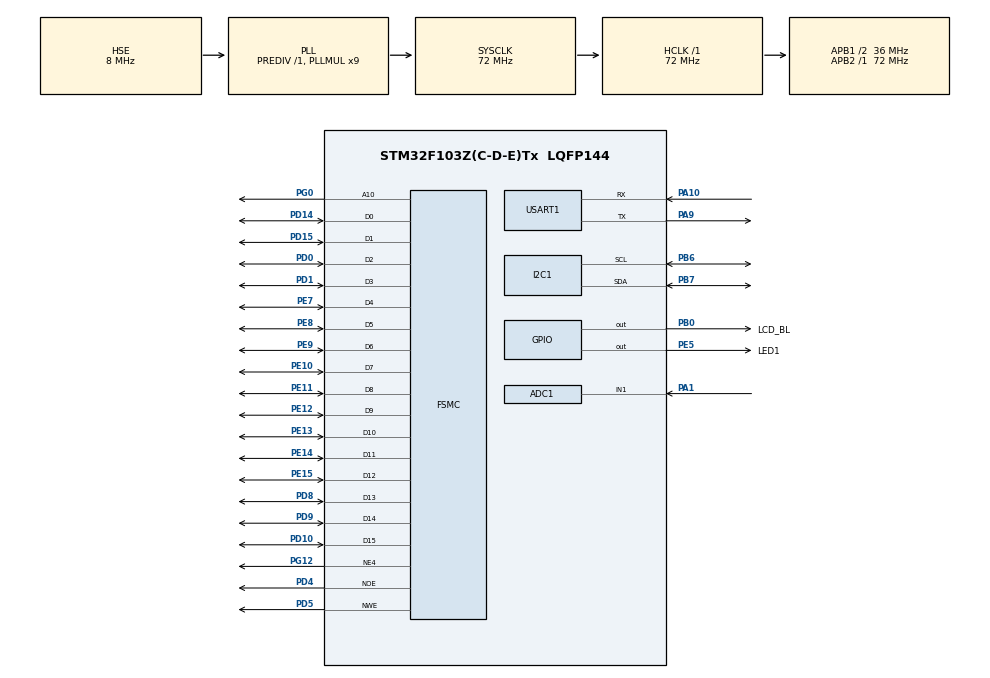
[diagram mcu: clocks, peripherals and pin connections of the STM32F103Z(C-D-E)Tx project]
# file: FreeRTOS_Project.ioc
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ADC1.Channel-3\#ChannelRegularConversion=ADC_CHANNEL_1
ADC1.NbrOfConversionFlag=1
ADC1.Rank-3\#ChannelRegularConversion=1
ADC1.SamplingTime-3\#ChannelRegularConversion=ADC_SAMPLETIME_55CYCLES_5
ADC1.master=1
Dma.ADC1.0.Direction=DMA_PERIPH_TO_MEMORY
Dma.ADC1.0.Instance=DMA1_Channel1
Dma.ADC1.0.MemDataAlignment=DMA_MDATAALIGN_HALFWORD
Dma.ADC1.0.MemInc=DMA_MINC_ENABLE
Dma.ADC1.0.Mode=DMA_NORMAL
Dma.ADC1.0.PeriphDataAlignment=DMA_PDATAALIGN_HALFWORD
Dma.ADC1.0.PeriphInc=DMA_PINC_DISABLE
Dma.ADC1.0.Priority=DMA_PRIORITY_LOW
Dma.Request0=ADC1
Dma.Request1=USART1_RX
Dma.Request2=USART1_TX
Dma.USART1_RX.1.Direction=DMA_PERIPH_TO_MEMORY
Dma.USART1_RX.1.Instance=DMA1_Channel5
Dma.USART1_RX.1.MemDataAlignment=DMA_MDATAALIGN_BYTE
Dma.USART1_RX.1.MemInc=DMA_MINC_ENABLE
Dma.USART1_RX.1.Mode=DMA_CIRCULAR
Dma.USART1_RX.1.PeriphDataAlignment=DMA_PDATAALIGN_BYTE
Dma.USART1_RX.1.PeriphInc=DMA_PINC_DISABLE
Dma.USART1_RX.1.Priority=DMA_PRIORITY_LOW
Dma.USART1_TX.2.Direction=DMA_MEMORY_TO_PERIPH
Dma.USART1_TX.2.Instance=DMA1_Channel4
Dma.USART1_TX.2.MemDataAlignment=DMA_MDATAALIGN_BYTE
Dma.USART1_TX.2.MemInc=DMA_MINC_ENABLE
Dma.USART1_TX.2.Mode=DMA_NORMAL
Dma.USART1_TX.2.PeriphDataAlignment=DMA_PDATAALIGN_BYTE
Dma.USART1_TX.2.PeriphInc=DMA_PINC_DISABLE
Dma.USART1_TX.2.Priority=DMA_PRIORITY_LOW
FREERTOS.Queues01=q_sensor2uart,32,uint16_t,0,Dynamic,NULL,NULL;q_sensor2display,32,uint16_t,0,Dynamic,NULL,NULL
FREERTOS.Tasks01=UART_Protocol_T,35,1024,StartUARTTask,Default,NULL,Dynamic,NULL,NULL;Sensor_Task,26,512,StartSensorTask,Default,NULL,Dynamic,NULL,NULL;Display_Task,17,256,StartDisplayTask,Default,NULL,Dynamic,NULL,NULL
FREERTOS.configTOTAL_HEAP_SIZE=16384
FSMC.AddressSetupTime1=0x01
FSMC.BusTurnAroundDuration1=0x00
FSMC.DataSetupTime1=0x05
Mcu.Family=STM32F1
Mcu.Name=STM32F103Z(C-D-E)Tx
Mcu.Package=LQFP144
NVIC.ADC1_2_IRQn=true\:5\:0\:false\:false\:true\:true\:true\:true
NVIC.DMA1_Channel1_IRQn=true\:5\:0\:false\:false\:true\:true\:false\:true
NVIC.DMA1_Channel4_IRQn=true\:5\:0\:false\:false\:true\:true\:false\:true
NVIC.DMA1_Channel5_IRQn=true\:5\:0\:false\:false\:true\:true\:false\:true
NVIC.PriorityGroup=NVIC_PRIORITYGROUP_4
NVIC.TIM6_IRQn=true\:15\:0\:false\:false\:true\:false\:false\:true
NVIC.TimeBase=TIM6_IRQn
NVIC.TimeBaseIP=TIM6
NVIC.USART1_IRQn=true\:5\:0\:false\:false\:true\:true\:true\:true
OSC_IN.Mode=HSE-External-Oscillator
OSC_IN.Signal=RCC_OSC_IN
OSC_OUT.Mode=HSE-External-Oscillator
OSC_OUT.Signal=RCC_OSC_OUT
PA1.Signal=ADCx_IN1
PA10.Mode=Asynchronous
PA10.Signal=USART1_RX
PA13.Mode=Serial_Wire
PA13.Signal=SYS_JTMS-SWDIO
PA14.Mode=Serial_Wire
PA14.Signal=SYS_JTCK-SWCLK
PA9.Mode=Asynchronous
PA9.Signal=USART1_TX
PB0.GPIO_Label=LCD_BL
PB0.GPIO_ModeDefaultOutputPP=GPIO_MODE_OUTPUT_PP
PB0.GPIO_PuPd=GPIO_NOPULL
PB0.PinState=GPIO_PIN_SET
PB0.Signal=GPIO_Output
PB6.Mode=I2C
PB6.Signal=I2C1_SCL
PB7.Mode=I2C
PB7.Signal=I2C1_SDA
PC14-OSC32_IN.Mode=LSE-External-Oscillator
PC14-OSC32_IN.Signal=RCC_OSC32_IN
PC15-OSC32_OUT.Mode=LSE-External-Oscillator
PC15-OSC32_OUT.Signal=RCC_OSC32_OUT
PD0.Signal=FSMC_D2_DA2
PD1.Signal=FSMC_D3_DA3
PD10.Signal=FSMC_D15_DA15
PD14.Signal=FSMC_D0_DA0
PD15.Signal=FSMC_D1_DA1
PD4.Signal=FSMC_NOE
PD5.Signal=FSMC_NWE
PD8.Signal=FSMC_D13_DA13
PD9.Signal=FSMC_D14_DA14
PE10.Signal=FSMC_D7_DA7
PE11.Signal=FSMC_D8_DA8
PE12.Signal=FSMC_D9_DA9
PE13.Signal=FSMC_D10_DA10
PE14.Signal=FSMC_D11_DA11
PE15.Signal=FSMC_D12_DA12
PE5.GPIO_Label=LED1
PE5.GPIO_ModeDefaultOutputPP=GPIO_MODE_OUTPUT_PP
PE5.GPIO_PuPd=GPIO_PULLUP
PE5.PinState=GPIO_PIN_RESET
PE5.Signal=GPIO_Output
PE7.Signal=FSMC_D4_DA4
PE8.Signal=FSMC_D5_DA5
PE9.Signal=FSMC_D6_DA6
PG0.Signal=FSMC_A10
PG12.Mode=NorPsramChipSelect4_1
PG12.Signal=FSMC_NE4
ProjectManager.HeapSize=0x200
ProjectManager.StackSize=0x400
ProjectManager.TargetToolchain=MDK-ARM V5.32
RCC.ADCPresc=RCC_ADCPCLK2_DIV6
RCC.AHBFreq_Value=72000000
RCC.APB1CLKDivider=RCC_HCLK_DIV2
RCC.APB1Freq_Value=36000000
RCC.APB1TimFreq_Value=72000000
RCC.APB2Freq_Value=72000000
RCC.APB2TimFreq_Value=72000000
RCC.HCLKFreq_Value=72000000
RCC.PLLMUL=RCC_PLL_MUL9
RCC.PLLSourceVirtual=RCC_PLLSOURCE_HSE
RCC.SYSCLKFreq_VALUE=72000000
RCC.SYSCLKSource=RCC_SYSCLKSOURCE_PLLCLK
RCC.USBFreq_Value=72000000
SH.ADCx_IN1.0=ADC1_IN1,IN1
SH.FSMC_A10.0=FSMC_A10,A10_1
SH.FSMC_D0_DA0.0=FSMC_D0,16b-d1
SH.FSMC_D10_DA10.0=FSMC_D10,16b-d1
SH.FSMC_D11_DA11.0=FSMC_D11,16b-d1
SH.FSMC_D12_DA12.0=FSMC_D12,16b-d1
SH.FSMC_D13_DA13.0=FSMC_D13,16b-d1
SH.FSMC_D14_DA14.0=FSMC_D14,16b-d1
SH.FSMC_D15_DA15.0=FSMC_D15,16b-d1
SH.FSMC_D1_DA1.0=FSMC_D1,16b-d1
SH.FSMC_D2_DA2.0=FSMC_D2,16b-d1
SH.FSMC_D3_DA3.0=FSMC_D3,16b-d1
SH.FSMC_D4_DA4.0=FSMC_D4,16b-d1
SH.FSMC_D5_DA5.0=FSMC_D5,16b-d1
SH.FSMC_D6_DA6.0=FSMC_D6,16b-d1
SH.FSMC_D7_DA7.0=FSMC_D7,16b-d1
SH.FSMC_D8_DA8.0=FSMC_D8,16b-d1
SH.FSMC_D9_DA9.0=FSMC_D9,16b-d1
SH.FSMC_NOE.0=FSMC_NOE,Lcd1
SH.FSMC_NWE.0=FSMC_NWE,Lcd1
USART1.VirtualMode=VM_ASYNC
VP_FREERTOS_VS_CMSIS_V2.Mode=CMSIS_V2
VP_SYS_VS_tim6.Mode=TIM6
board=custom

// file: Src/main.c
/* USER CODE BEGIN Header */
/**
  ******************************************************************************
  * @file           : main.c
  * @brief          : Main program body
  ******************************************************************************
  * @attention
  *
  * <h2><center>&copy; Copyright (c) 2026 STMicroelectronics.
  * All rights reserved.</center></h2>
  *
  * This software component is licensed by ST under Ultimate Liberty license
  * SLA0044, the "License"; You may not use this file except in compliance with
  * the License. You may obtain a copy of the License at:
  *                             www.st.com/SLA0044
  *
  ******************************************************************************
  */
/* USER CODE END Header */
#include "main.h"
#include "cmsis_os.h"
#include "adc.h"
#include "dma.h"
#include "i2c.h"
#include "usart.h"
#include "gpio.h"
#include "fsmc.h"

/* USER CODE BEGIN Includes */
#include <stdio.h>
#include "touch.h"
#include "24cxx.h"

/* USER CODE END Includes */

void SystemClock_Config(void);
void MX_FREERTOS_Init(void);

int main(void)
{

  /* MCU Configuration--------------------------------------------------------*/

  /* Reset of all peripherals, Initializes the Flash interface and the Systick. */
  HAL_Init();

  /* Configure the system clock */
  SystemClock_Config();

  /* Initialize all configured peripherals */
  MX_GPIO_Init();
  MX_DMA_Init();
  MX_ADC1_Init();
  MX_I2C1_Init();
  MX_USART1_UART_Init();
  MX_FSMC_Init();
  /* USER CODE BEGIN 2 */
  /* 预读触摸校准(调度器启动前做, 24C02 与 SHT30 共用 PB6/PB7 软 I2C, 避免任务竞争) */
  at24cxx_init();
  tp_get_adjust_data();

  /* USER CODE END 2 */

  /* Init scheduler */
  osKernelInitialize();  /* Call init function for freertos objects (in freertos.c) */
  MX_FREERTOS_Init();
  /* Start scheduler */
  osKernelStart();

  /* We should never get here as control is now taken by the scheduler */
  /* Infinite loop */
  while (1)
  {

  }
}

void SystemClock_Config(void)
{
  RCC_OscInitTypeDef RCC_OscInitStruct = {0};
  RCC_ClkInitTypeDef RCC_ClkInitStruct = {0};
  RCC_PeriphCLKInitTypeDef PeriphClkInit = {0};

  /** Initializes the RCC Oscillators according to the specified parameters
  * in the RCC_OscInitTypeDef structure.
  */
  RCC_OscInitStruct.OscillatorType = RCC_OSCILLATORTYPE_HSE;
  RCC_OscInitStruct.HSEState = RCC_HSE_ON;
  RCC_OscInitStruct.HSEPredivValue = RCC_HSE_PREDIV_DIV1;
  RCC_OscInitStruct.HSIState = RCC_HSI_ON;
  RCC_OscInitStruct.PLL.PLLState = RCC_PLL_ON;
  RCC_OscInitStruct.PLL.PLLSource = RCC_PLLSOURCE_HSE;
  RCC_OscInitStruct.PLL.PLLMUL = RCC_PLL_MUL9;
  if (HAL_RCC_OscConfig(&RCC_OscInitStruct) != HAL_OK)
  {
    Error_Handler();
  }
  /** Initializes the CPU, AHB and APB buses clocks
  */
  RCC_ClkInitStruct.ClockType = RCC_CLOCKTYPE_HCLK|RCC_CLOCKTYPE_SYSCLK
                              |RCC_CLOCKTYPE_PCLK1|RCC_CLOCKTYPE_PCLK2;
  RCC_ClkInitStruct.SYSCLKSource = RCC_SYSCLKSOURCE_PLLCLK;
  RCC_ClkInitStruct.AHBCLKDivider = RCC_SYSCLK_DIV1;
  RCC_ClkInitStruct.APB1CLKDivider = RCC_HCLK_DIV2;
  RCC_ClkInitStruct.APB2CLKDivider = RCC_HCLK_DIV1;

  if (HAL_RCC_ClockConfig(&RCC_ClkInitStruct, FLASH_LATENCY_2) != HAL_OK)
  {
    Error_Handler();
  }
  PeriphClkInit.PeriphClockSelection = RCC_PERIPHCLK_ADC;
  PeriphClkInit.AdcClockSelection = RCC_ADCPCLK2_DIV6;
  if (HAL_RCCEx_PeriphCLKConfig(&PeriphClkInit) != HAL_OK)
  {
    Error_Handler();
  }
}

/* USER CODE BEGIN 4 */
/* printf 重定向到串口1 (需要在 Keil 里勾选 Use MicroLIB) */
extern osMutexId_t uart_tx_mutex;   /* created in freertos.c */

int fputc(int ch, FILE *f)
{
    if (uart_tx_mutex) osMutexAcquire(uart_tx_mutex, osWaitForever);
    HAL_UART_Transmit(&huart1, (uint8_t *)&ch, 1, 100);
    if (uart_tx_mutex) osMutexRelease(uart_tx_mutex);
    return ch;
}

/* USER CODE END 4 */

void HAL_TIM_PeriodElapsedCallback(TIM_HandleTypeDef *htim)
{
  if (htim->Instance == TIM6) {
    HAL_IncTick();
  }
}

void Error_Handler(void)
{
  __disable_irq();
  while (1)
  {
  }
}

/************************ (C) COPYRIGHT STMicroelectronics *****END OF FILE****/

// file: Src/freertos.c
/* USER CODE BEGIN Header */
/**
  ******************************************************************************
  * File Name          : freertos.c
  * Description        : Code for freertos applications
  ******************************************************************************
  * @attention
  *
  * <h2><center>&copy; Copyright (c) 2026 STMicroelectronics.
  * All rights reserved.</center></h2>
  *
  * This software component is licensed by ST under Ultimate Liberty license
  * SLA0044, the "License"; You may not use this file except in compliance with
  * the License. You may obtain a copy of the License at:
  *                             www.st.com/SLA0044
  *
  ******************************************************************************
  */
/* USER CODE END Header */

#include "FreeRTOS.h"
#include "task.h"
#include "main.h"
#include "cmsis_os.h"

/* USER CODE BEGIN Includes */
#include <stdio.h>
#include <string.h>
#include "lvgl.h"
#include "lv_port_disp.h"
#include "adc.h"
#include "usart.h"
#include "ringbuf.h"
#include "protocol.h"
#include "sht30.h"
#include "flash_param.h"
#include "lcd.h"
#include "touch.h"
#include "lv_port_indev.h"
#include "rtc.h"

/* USER CODE END Includes */

/* USER CODE BEGIN Variables */
/* 传感器数据包: 队列里传的就是这个结构体 */
typedef struct
{
    uint16_t adc_raw;   /* ADC raw value 0~4095 */
    uint16_t adc_mv;    /* 换算后的电压, 单位 mV */
    int16_t  temp_x10;  /* 温度 ×10, 256 = 25.6°C; 0x7FFF = 无效 */
    int16_t  humi_x10;  /* 湿度 ×10, 600 = 60.0%; 0x7FFF = 无效 */
} SensorData;

volatile uint16_t g_sample_interval_ms = 200;   /* 采样周期, 可被串口命令修改 */
volatile uint8_t  g_device_id = 0x01;           /* device ID (TODO: persist in flash) */
volatile uint32_t g_proto_crc_err = 0;   /* CRC error frame counter (debug) */
osMutexId_t uart_tx_mutex = NULL;   /* serial printf mutex (shared with main.c fputc) */

/* USER CODE END Variables */
/* Definitions for UART_Protocol_T */
osThreadId_t UART_Protocol_THandle;
const osThreadAttr_t UART_Protocol_T_attributes = {
  .name = "UART_Protocol_T",
  .stack_size = 1024 * 4,
  .priority = (osPriority_t) osPriorityAboveNormal3,
};
/* Definitions for Sensor_Task */
osThreadId_t Sensor_TaskHandle;
const osThreadAttr_t Sensor_Task_attributes = {
  .name = "Sensor_Task",
  .stack_size = 512 * 4,
  .priority = (osPriority_t) osPriorityNormal2,
};
/* Definitions for Display_Task */
osThreadId_t Display_TaskHandle;
const osThreadAttr_t Display_Task_attributes = {
  .name = "Display_Task",
  .stack_size = 2048 * 4,
  .priority = (osPriority_t) osPriorityBelowNormal1,
};
/* Definitions for q_sensor2uart */
osMessageQueueId_t q_sensor2uartHandle;
const osMessageQueueAttr_t q_sensor2uart_attributes = {
  .name = "q_sensor2uart"
};
/* Definitions for q_sensor2display */
osMessageQueueId_t q_sensor2displayHandle;
const osMessageQueueAttr_t q_sensor2display_attributes = {
  .name = "q_sensor2display"
};

/* USER CODE BEGIN FunctionPrototypes */
static void proto_handle_cmd(ProtoParser *p, uint8_t *tx_buf);

/* USER CODE END FunctionPrototypes */

void StartUARTTask(void *argument);
void StartSensorTask(void *argument);
void StartDisplayTask(void *argument);

void MX_FREERTOS_Init(void); /* (MISRA C 2004 rule 8.1) */
/* FreeRTOS stack overflow hook: print + loop forever */
/* FreeRTOS malloc failed hook: print + loop forever */
void vApplicationMallocFailedHook(void)
{
    printf("MALLOC FAILED!\r\n");
    while (1);
}
void vApplicationStackOverflowHook(TaskHandle_t xTask, char *pcTaskName)
{
    printf("STACK OVERFLOW: %s\r\n", pcTaskName);
    while (1);
}

void MX_FREERTOS_Init(void) {

  /* USER CODE BEGIN RTOS_MUTEX */
  uart_tx_mutex = osMutexNew(NULL);
  /* USER CODE END RTOS_MUTEX */

  /* Create the queue(s) */
  /* creation of q_sensor2uart */
  q_sensor2uartHandle = osMessageQueueNew (32, sizeof(SensorData), &q_sensor2uart_attributes);

  /* creation of q_sensor2display */
  q_sensor2displayHandle = osMessageQueueNew (32, sizeof(SensorData), &q_sensor2display_attributes);

  /* Create the thread(s) */
  /* creation of UART_Protocol_T */
  UART_Protocol_THandle = osThreadNew(StartUARTTask, NULL, &UART_Protocol_T_attributes);

  /* creation of Sensor_Task */
  Sensor_TaskHandle = osThreadNew(StartSensorTask, NULL, &Sensor_Task_attributes);

  /* creation of Display_Task */
  Display_TaskHandle = osThreadNew(StartDisplayTask, NULL, &Display_Task_attributes);

}

void StartUARTTask(void *argument)
{
  /* USER CODE BEGIN StartUARTTask */
  SensorData rx_data;
  uint8_t byte;
  ProtoParser parser;
  uint8_t tx_buf[PROTO_MAX_DATA_LEN + 6];

  proto_init(&parser);
  uart1_rx_start();   /* 启动 DMA 循环接收 + IDLE 中断 */

/* load params from flash; use defaults if absent */
  {
      uint16_t id, interval;
      if (flash_param_load(&id, &interval) == 0)
      {
          g_device_id = (uint8_t)id;
          g_sample_interval_ms = interval;
          printf("params loaded: ID=%u interval=%ums\r\n", (unsigned)id, (unsigned)interval);
      }
      else
      {
          printf("params default: ID=1 interval=200ms\r\n");
      }
  }
  printf("Proto v1 up: use HEX mode. Frames: AA ID CMD LEN DATA CRC16\r\n");

  /* Infinite loop */
  for(;;)
  {
    /* 1. 串口字节 -> 协议状态机 */
    while (rb_read(&uart1_rx_ring, &byte))
    {
        ProtoStatus st = proto_feed(&parser, byte);

        if (st == PROTO_FRAME_OK)
        {
            proto_handle_cmd(&parser, tx_buf);
        }
        else if (st == PROTO_CRC_ERR)
        {
            g_proto_crc_err++;
            printf("CRC err! count=%lu\r\n", (unsigned long)g_proto_crc_err);
        }
        else if (st == PROTO_LEN_ERR)
        {
            printf("LEN err!\r\n");
        }
    }

/* sensor data -> CMD 0x01 report (DATA: adc_mv 2B + adc_raw 2B) */
    if (osMessageQueueGet(q_sensor2uartHandle, &rx_data, NULL, 50) == osOK)
    {
        uint8_t payload[8];
        uint16_t n;

        payload[0] = (uint8_t)(rx_data.adc_mv >> 8);
        payload[1] = (uint8_t)(rx_data.adc_mv & 0xFF);
        payload[2] = (uint8_t)(rx_data.adc_raw >> 8);
        payload[3] = (uint8_t)(rx_data.adc_raw & 0xFF);
        payload[4] = (uint8_t)(rx_data.temp_x10 >> 8);
        payload[5] = (uint8_t)(rx_data.temp_x10 & 0xFF);
        payload[6] = (uint8_t)(rx_data.humi_x10 >> 8);
        payload[7] = (uint8_t)(rx_data.humi_x10 & 0xFF);

        n = proto_build(g_device_id, PROTO_CMD_REPORT, payload, 8, tx_buf);
        HAL_UART_Transmit(&huart1, tx_buf, n, 100);
    }
  }
  /* USER CODE END StartUARTTask */
}

void StartSensorTask(void *argument)
{
  /* USER CODE BEGIN StartSensorTask */
  SensorData tx_data;

  /* Infinite loop */
  for(;;)
  {
/* one-shot: start -> wait -> read -> stop */
    HAL_ADC_Start(&hadc1);
    if (HAL_ADC_PollForConversion(&hadc1, 10) == HAL_OK)
    {
        tx_data.adc_raw = HAL_ADC_GetValue(&hadc1);
    }
    else
    {
        tx_data.adc_raw = 0;
    }
    HAL_ADC_Stop(&hadc1);

/* convert: 12-bit ADC, 3.3V reference */
    tx_data.adc_mv = (uint16_t)((uint32_t)tx_data.adc_raw * 3300UL / 4095UL);

/* SHT30 read fail -> 0x7FFF invalid */
    if (sht30_read(&tx_data.temp_x10, &tx_data.humi_x10) != 0)
    {
        tx_data.temp_x10 = 0x7FFF;
        tx_data.humi_x10 = 0x7FFF;
    }

    /* 发给 UART 任务; 队列满则阻塞等待(背压, 自动限流) */
    osMessageQueuePut(q_sensor2uartHandle, &tx_data, 0, 100);
    /* 同时发给显示任务 */
    osMessageQueuePut(q_sensor2displayHandle, &tx_data, 0, 100);

    osDelay(g_sample_interval_ms);   /* 采样周期, 可被 CMD 0x02 修改 */
  }
  /* USER CODE END StartSensorTask */
}

/* ===== App page framework =====
 * Desktop + app pages are persistent lv_obj_t screens, switched by lv_scr_load().
 * Handles are file-static so the UI refresh loop can update them anytime. */
static lv_obj_t *scr_desktop = NULL;
static lv_obj_t *scr_clock = NULL;
static lv_obj_t *scr_weather = NULL;
static lv_obj_t *scr_adc = NULL;
static lv_obj_t *scr_calc = NULL;
static lv_obj_t *lbl_desk_time = NULL;  /* desktop status time */
static lv_obj_t *lbl_clock_big = NULL;  /* clock app big text */
static lv_obj_t *lbl_clock_date = NULL; /* clock app date line */
static lv_obj_t *lbl_w_temp = NULL;     /* weather app */
static lv_obj_t *lbl_w_humi = NULL;
static lv_obj_t *chart_weather = NULL;  /* weather history chart */
static lv_chart_series_t *s_w_temp = NULL;
static lv_chart_series_t *s_w_humi = NULL;
static int16_t last_temp_x10 = 0x7FFF;  /* latest values, for 1Hz chart feed */
static int16_t last_humi_x10 = 0x7FFF;
static uint16_t last_adc_mv = 0xFFFF;   /* last shown value, change-check */
/* adaptive Y range: track min/max of valid samples (x10 fixed point),
 * so small variations stay visible instead of being flattened */
static int16_t chart_tmin = 0x7FFF, chart_tmax = 0x8000;
static int16_t chart_hmin = 0x7FFF, chart_hmax = 0x8000;

static void chart_update_range(void)
{
    if (chart_tmin > chart_tmax) return;   /* no valid samples yet, keep initial range */
    lv_chart_set_range(chart_weather, LV_CHART_AXIS_PRIMARY_Y,
                       chart_tmin - 15, chart_tmax + 15);   /* +/- 1.5 C margin */
    lv_chart_set_range(chart_weather, LV_CHART_AXIS_SECONDARY_Y,
                       chart_hmin - 50, chart_hmax + 50);   /* +/- 5 % margin */
}
static lv_obj_t *lbl_adc_big = NULL;    /* adc app */
static lv_obj_t *lbl_adc_raw = NULL;

/* desktop icon -> open app page (fade in: renders one screen per frame) */
static void app_open_clock_cb(lv_event_t *e)
{ (void)e; lv_scr_load_anim(scr_clock, LV_SCR_LOAD_ANIM_FADE_ON, 200, 0, false); }
static void app_open_weather_cb(lv_event_t *e)
{ (void)e; lv_scr_load_anim(scr_weather, LV_SCR_LOAD_ANIM_FADE_ON, 200, 0, false); }
static void app_open_adc_cb(lv_event_t *e)
{ (void)e; lv_scr_load_anim(scr_adc, LV_SCR_LOAD_ANIM_FADE_ON, 200, 0, false); }
static void app_open_calc_cb(lv_event_t *e)
{ (void)e; lv_scr_load_anim(scr_calc, LV_SCR_LOAD_ANIM_FADE_ON, 200, 0, false); }

/* app page back button -> desktop */
static void app_back_cb(lv_event_t *e)
{ (void)e; lv_scr_load_anim(scr_desktop, LV_SCR_LOAD_ANIM_FADE_ON, 200, 0, false); }

/* shared button styles (one instance, all buttons reference them) */
static lv_style_t g_style_btn;
static lv_style_t g_style_btn_pressed;

static void ui_styles_init(void)
{
    lv_style_init(&g_style_btn);
    lv_style_set_bg_color(&g_style_btn, lv_color_hex(0x1E2A38));
    lv_style_set_radius(&g_style_btn, 10);
    lv_style_set_shadow_width(&g_style_btn, 0);
    lv_style_set_border_width(&g_style_btn, 0);

    lv_style_init(&g_style_btn_pressed);
    lv_style_set_bg_color(&g_style_btn_pressed, lv_color_hex(0x2A3B4D));
}

static void ui_btn_style(lv_obj_t *btn)
{
    lv_obj_add_style(btn, &g_style_btn, 0);
    lv_obj_add_style(btn, &g_style_btn_pressed, LV_STATE_PRESSED);
}

/* ===== Calculator app =====
 * Expression string + recursive-descent eval (mul/div before add/sub, left assoc) */
static lv_obj_t *lbl_calc = NULL;
static char calc_expr[32];
static uint8_t calc_len = 0;
static uint8_t calc_is_result = 0;

static const char *calc_map[] = {
    "C", LV_SYMBOL_BACKSPACE, "%", "/", "\n",
    "7", "8", "9", "*", "\n",
    "4", "5", "6", "-", "\n",
    "1", "2", "3", "+", "\n",
    "0", ".", "=", " ",
    ""
};

/* parse one term: number [(*|/) number]* */
static double calc_term(const char **p, int *err)
{
    double v = strtod(*p, (char **)p);
    while (**p == '*' || **p == '/')
    {
        char op = *(*p)++;
        double r = strtod(*p, (char **)p);
        if (op == '/' && r == 0.0) { *err = 1; return 0.0; }
        v = (op == '*') ? v * r : v / r;
    }
    return v;
}

/* parse full expression: term [(+|-) term]* */
static double calc_eval(const char *s, int *err)
{
    const char *p = s;
    double v = calc_term(&p, err);
    while (*p == '+' || *p == '-')
    {
        char op = *p++;
        double r = calc_term(&p, err);
        v = (op == '+') ? v + r : v - r;
    }
    return v;
}

static void calc_refresh(void)
{
    lv_label_set_text(lbl_calc, calc_len ? calc_expr : "0");
}

/* format double to string: max 6 decimal digits, strip trailing zeros.
 * (LVGL's lv_snprintf has no float support - LV_SPRINTF_USE_FLOAT=0) */
static void calc_format_result(double v, char *out)
{
    size_t i = 0;
    double a, fp;
    long long ip;

    if (v != v || v > 9.0e18 || v < -9.0e18)   /* NaN / overflow */
    {
        strcpy(out, "Error");
        return;
    }
    a = (v < 0) ? -v : v;
    ip = (long long)a;
    fp = a - (double)ip;

    if (v < 0) out[i++] = '-';
    if (ip == 0) out[i++] = '0';
    else
    {
        char rev[24];
        int j = 0;
        while (ip > 0 && j < 23) { rev[j++] = (char)('0' + ip % 10); ip /= 10; }
        while (j > 0) out[i++] = rev[--j];
    }
    if (fp > 1e-9)
    {
        int digits = 0;
        out[i++] = '.';
        while (fp > 1e-9 && digits < 6)
        {
            fp *= 10.0;
            int d = (int)fp;
            out[i++] = (char)('0' + d);
            fp -= (double)d;
            digits++;
        }
        while (i > 0 && out[i - 1] == '0') i--;   /* strip trailing zeros */
        if (out[i - 1] == '.') i--;               /* "1." -> "1" */
    }
    out[i] = '\0';
}

static void calc_key(char k)
{
    if (k == ' ') return;                       /* unused pad key */

    switch (k)
    {
        case 'C':
            calc_len = 0; calc_expr[0] = 0; calc_is_result = 0;
            break;

        case 'B':                               /* backspace */
            if (calc_is_result) { calc_len = 0; calc_expr[0] = 0; calc_is_result = 0; }
            else if (calc_len) { calc_expr[--calc_len] = 0; }
            break;

        case '=':
        {
            int err = 0;
            double v = calc_eval(calc_expr, &err);
            if (err || v != v)                  /* v != v catches NaN */
            {
                lv_label_set_text(lbl_calc, "Error");
                calc_len = 0; calc_expr[0] = 0; calc_is_result = 0;
            }
            else
            {
                calc_format_result(v, calc_expr);
                calc_len = (uint8_t)strlen(calc_expr);
                calc_is_result = 1;
                lv_label_set_text(lbl_calc, calc_expr);
            }
            return;
        }

        default:                                /* digits, '.', ops */
            if (calc_is_result)
            {
                if (k >= '0' && k <= '9') { calc_len = 0; calc_expr[0] = 0; }
                calc_is_result = 0;
            }
            if (calc_len >= sizeof(calc_expr) - 4) break;   /* overflow guard */
            if (k == '%') { strcpy(&calc_expr[calc_len], "/100"); calc_len += 4; }
            else { calc_expr[calc_len++] = k; calc_expr[calc_len] = 0; }
            break;
    }
    calc_refresh();
}

static void calc_btn_cb(lv_event_t *e)
{
    lv_obj_t *bm = lv_event_get_target(e);
    uint16_t sel = lv_btnmatrix_get_selected_btn(bm);
    const char *txt;

    if (sel == LV_BTNMATRIX_BTN_NONE) return;
    txt = lv_btnmatrix_get_btn_text(bm, sel);
    if (strcmp(txt, LV_SYMBOL_BACKSPACE) == 0) calc_key('B');
    else calc_key(txt[0]);
}

/* desktop app icon: colored rounded tile (phone-style) + symbol + name below.
 * The tile is a gradient rounded square with a soft shadow; the app symbol is
 * centered in white; the name sits under the tile like a phone launcher. */
static lv_obj_t *ui_icon_create(lv_obj_t *parent, lv_coord_t x, lv_coord_t y,
                                const char *symbol, const char *name,
                                uint32_t tile_color, lv_event_cb_t cb)
{
    lv_obj_t *tile = lv_btn_create(parent);
    lv_obj_set_size(tile, 52, 52);
    lv_obj_set_pos(tile, x, y);
    lv_obj_set_style_bg_color(tile, lv_color_hex(tile_color), 0);
    lv_obj_set_style_bg_grad_color(tile, lv_color_hex(0x101820), 0);
    lv_obj_set_style_bg_grad_dir(tile, LV_GRAD_DIR_VER, 0);
    lv_obj_set_style_bg_opa(tile, LV_OPA_COVER, 0);
    lv_obj_set_style_bg_color(tile, lv_color_hex(0x2A3B4D), LV_STATE_PRESSED);
    lv_obj_set_style_bg_grad_color(tile, lv_color_hex(0x2A3B4D), LV_STATE_PRESSED);
    lv_obj_set_style_radius(tile, 14, 0);
    lv_obj_set_style_border_width(tile, 0, 0);
    lv_obj_set_style_shadow_width(tile, 8, 0);
    lv_obj_set_style_shadow_color(tile, lv_color_hex(0x000000), 0);
    lv_obj_set_style_shadow_opa(tile, LV_OPA_60, 0);
    lv_obj_set_style_shadow_ofs_y(tile, 3, 0);
    lv_obj_add_event_cb(tile, cb, LV_EVENT_CLICKED, NULL);

    lv_obj_t *sym = lv_label_create(tile);
    lv_label_set_text(sym, symbol);
    lv_obj_set_style_text_color(sym, lv_color_hex(0xFFFFFF), 0);
    lv_obj_set_style_text_font(sym, &lv_font_montserrat_20, 0);
    lv_obj_center(sym);

    lv_obj_t *nm = lv_label_create(parent);
    lv_label_set_text(nm, name);
    lv_obj_set_style_text_color(nm, lv_color_hex(0xB0B8C4), 0);
    lv_obj_set_style_text_font(nm, &lv_font_montserrat_14, 0);
    lv_obj_align_to(nm, tile, LV_ALIGN_BOTTOM_MID, 0, 5);
    return tile;
}

/* app page scaffold: title + back button, caller adds content */
static lv_obj_t *ui_app_page_create(const char *title, uint32_t title_color)
{
    lv_obj_t *scr = lv_obj_create(NULL);
    lv_obj_set_style_bg_color(scr, lv_color_hex(0x101820), 0);
    lv_obj_clear_flag(scr, LV_OBJ_FLAG_SCROLLABLE);

    lv_obj_t *lbl = lv_label_create(scr);
    lv_label_set_text(lbl, title);
    lv_obj_set_style_text_color(lbl, lv_color_hex(title_color), 0);
    lv_obj_set_style_text_font(lbl, &lv_font_montserrat_20, 0);
    lv_obj_align(lbl, LV_ALIGN_TOP_MID, 0, 20);

    lv_obj_t *btn = lv_btn_create(scr);
    lv_obj_set_size(btn, 52, 34);
    lv_obj_align(btn, LV_ALIGN_TOP_LEFT, 8, 10);
    ui_btn_style(btn);
    lv_obj_add_event_cb(btn, app_back_cb, LV_EVENT_CLICKED, NULL);
    lv_obj_t *b = lv_label_create(btn);
    lv_label_set_text(b, LV_SYMBOL_LEFT);
    lv_obj_set_style_text_color(b, lv_color_hex(0xFFFFFF), 0);
    lv_obj_center(b);
    return scr;
}

void StartDisplayTask(void *argument)
{
  /* USER CODE BEGIN StartDisplayTask */
  SensorData disp;

  lcd_init();    /* init LCD (one-time at boot) */
  printf("[LVGL] lcd_init done\r\n");
  lv_init();    /* init LVGL */
  printf("[LVGL] lv_init done\r\n");
  lv_port_disp_init();    /* register display driver */
  printf("[LVGL] disp_init done\r\n");

  /* RTC: real clock (LSE 32.768kHz, battery-backed) */
  if (rtc_init() == 0)
  {
      rtc_set_from_build_time_if_needed();
      printf("[RTC] ready\r\n");
  }
  else
  {
      printf("[RTC] LSE FAIL - uptime mode\r\n");
  }

  /* touch: XPT2046 resistive init + register LVGL input device */
  uint8_t tp_ok = tp_init();
  printf("[TP] tp_init %s (calib %s)\r\n", tp_ok ? "UNCALIB" : "OK",
         g_tp_calib_ok ? "OK" : "NONE");
  lv_port_indev_init();

  /* ===== Desktop: title + status time + 3 app icons ===== */
  ui_styles_init();               /* shared button styles (before any widget) */
  scr_desktop = lv_scr_act();
  lv_obj_set_style_bg_color(scr_desktop, lv_color_hex(0x101820), 0);

  lv_obj_t *lbl_t = lv_label_create(scr_desktop);
  lv_label_set_text(lbl_t, "Sensor OS");
  lv_obj_set_style_text_color(lbl_t, lv_color_hex(0xFFFFFF), 0);
  lv_obj_set_style_text_font(lbl_t, &lv_font_montserrat_20, 0);
  lv_obj_align(lbl_t, LV_ALIGN_TOP_MID, 0, 14);

  /* status time, top-right like a phone status bar */
  lbl_desk_time = lv_label_create(scr_desktop);
  lv_label_set_text(lbl_desk_time, "00:00");
  lv_obj_set_style_text_color(lbl_desk_time, lv_color_hex(0x8AB4F8), 0);
  lv_obj_set_style_text_font(lbl_desk_time, &lv_font_montserrat_14, 0);
  lv_obj_align(lbl_desk_time, LV_ALIGN_TOP_RIGHT, -14, 18);

  /* app icons: 2x2 centered grid (52px tiles + name labels below) */
  ui_icon_create(scr_desktop, 58, 118, LV_SYMBOL_BELL,    "Clock",   0x2A5DB0, app_open_clock_cb);
  ui_icon_create(scr_desktop, 130, 118, LV_SYMBOL_REFRESH, "Weather", 0x1E8CA0, app_open_weather_cb);
  ui_icon_create(scr_desktop, 58, 214, LV_SYMBOL_CHARGE,  "ADC",     0x2E8C4E, app_open_adc_cb);
  ui_icon_create(scr_desktop, 130, 214, "+",              "Calc",    0xC07A2E, app_open_calc_cb);

  lv_obj_t *ver = lv_label_create(scr_desktop);
  lv_label_set_text(ver, "FreeRTOS + LVGL v1.0");
  lv_obj_set_style_text_color(ver, lv_color_hex(0x556070), 0);
  lv_obj_set_style_text_font(ver, &lv_font_montserrat_14, 0);
  lv_obj_align(ver, LV_ALIGN_BOTTOM_MID, 0, -8);

  /* ===== Clock app page ===== */
  scr_clock = ui_app_page_create("Clock", 0x4FC3F7);
  lbl_clock_big = lv_label_create(scr_clock);
  lv_label_set_text(lbl_clock_big, "00:00:00");
  lv_obj_set_style_text_color(lbl_clock_big, lv_color_hex(0xFFFFFF), 0);
  lv_obj_set_style_text_font(lbl_clock_big, &lv_font_montserrat_20, 0);
  lv_obj_align(lbl_clock_big, LV_ALIGN_CENTER, 0, -20);
  lbl_clock_date = lv_label_create(scr_clock);
  lv_label_set_text(lbl_clock_date, "----");
  lv_obj_set_style_text_color(lbl_clock_date, lv_color_hex(0x8AB4F8), 0);
  lv_obj_set_style_text_font(lbl_clock_date, &lv_font_montserrat_16, 0);
  lv_obj_align(lbl_clock_date, LV_ALIGN_CENTER, 0, 20);

  /* ===== Weather app page ===== */
  scr_weather = ui_app_page_create("Weather", 0x4FC3F7);
  lbl_w_temp = lv_label_create(scr_weather);
  lv_label_set_text(lbl_w_temp, "Temp: --");
  lv_obj_set_style_text_color(lbl_w_temp, lv_color_hex(0xFF8C42), 0);
  lv_obj_set_style_text_font(lbl_w_temp, &lv_font_montserrat_20, 0);
  lv_obj_align(lbl_w_temp, LV_ALIGN_TOP_MID, 0, 58);
  lbl_w_humi = lv_label_create(scr_weather);
  lv_label_set_text(lbl_w_humi, "Humi: --");
  lv_obj_set_style_text_color(lbl_w_humi, lv_color_hex(0x81C784), 0);
  lv_obj_set_style_text_font(lbl_w_humi, &lv_font_montserrat_20, 0);
  lv_obj_align(lbl_w_humi, LV_ALIGN_TOP_MID, 0, 92);

  /* history chart: temp on primary Y, humi on secondary Y, 60 points fed
   * once per second = 60s sliding window (stable lv_chart, straight lines) */
  chart_weather = lv_chart_create(scr_weather);
  lv_obj_set_size(chart_weather, 224, 168);
  lv_obj_align(chart_weather, LV_ALIGN_BOTTOM_MID, 0, -4);
  lv_chart_set_point_count(chart_weather, 60);
  /* initial ranges in x10 fixed point (250 = 25.0C); chart_update_range()
   * takes over as soon as the first valid sample arrives */
  lv_chart_set_range(chart_weather, LV_CHART_AXIS_PRIMARY_Y, 100, 400);
  lv_chart_set_range(chart_weather, LV_CHART_AXIS_SECONDARY_Y, 0, 1000);
  lv_chart_set_div_line_count(chart_weather, 4, 8);
  lv_obj_set_style_bg_color(chart_weather, lv_color_hex(0x141B24), 0);
  lv_obj_set_style_border_width(chart_weather, 1, 0);
  lv_obj_set_style_border_color(chart_weather, lv_color_hex(0x2A3B4D), 0);
  s_w_temp = lv_chart_add_series(chart_weather, lv_color_hex(0xFF8C42), LV_CHART_AXIS_PRIMARY_Y);
  s_w_humi = lv_chart_add_series(chart_weather, lv_color_hex(0x81C784), LV_CHART_AXIS_SECONDARY_Y);
  lv_obj_set_style_size(chart_weather, 0, LV_PART_INDICATOR);   /* no dots, just lines */

  /* ===== ADC app page ===== */
  scr_adc = ui_app_page_create("ADC", 0x81C784);
  lbl_adc_big = lv_label_create(scr_adc);
  lv_label_set_text(lbl_adc_big, "-- mV");
  lv_obj_set_style_text_color(lbl_adc_big, lv_color_hex(0x81C784), 0);
  lv_obj_set_style_text_font(lbl_adc_big, &lv_font_montserrat_20, 0);
  lv_obj_align(lbl_adc_big, LV_ALIGN_CENTER, 0, -30);
  lbl_adc_raw = lv_label_create(scr_adc);
  lv_label_set_text(lbl_adc_raw, "raw: ----");
  lv_obj_set_style_text_color(lbl_adc_raw, lv_color_hex(0x556070), 0);
  lv_obj_set_style_text_font(lbl_adc_raw, &lv_font_montserrat_14, 0);
  lv_obj_align(lbl_adc_raw, LV_ALIGN_CENTER, 0, 20);

  /* ===== Calculator app page ===== */
  scr_calc = ui_app_page_create("Calc", 0xE5A64E);
  lbl_calc = lv_label_create(scr_calc);
  lv_label_set_text(lbl_calc, "0");
  lv_obj_set_style_text_color(lbl_calc, lv_color_hex(0xFFFFFF), 0);
  lv_obj_set_style_text_font(lbl_calc, &lv_font_montserrat_20, 0);
  lv_obj_align(lbl_calc, LV_ALIGN_TOP_RIGHT, -16, 46);

  lv_obj_t *bm = lv_btnmatrix_create(scr_calc);
  lv_btnmatrix_set_map(bm, calc_map);
  lv_obj_set_size(bm, 216, 232);
  lv_obj_align(bm, LV_ALIGN_BOTTOM_MID, 0, -8);
  lv_obj_set_style_bg_color(bm, lv_color_hex(0x141B24), 0);
  lv_obj_set_style_border_width(bm, 0, 0);
  lv_obj_set_style_pad_all(bm, 2, 0);
  lv_obj_set_style_radius(bm, 0, 0);
  lv_obj_set_style_pad_row(bm, 4, 0);
  lv_obj_set_style_pad_column(bm, 4, 0);
  lv_obj_set_style_bg_color(bm, lv_color_hex(0x1E2A38), LV_PART_ITEMS);
  lv_obj_set_style_bg_color(bm, lv_color_hex(0x2A3B4D), LV_PART_ITEMS | LV_STATE_PRESSED);
  lv_obj_set_style_radius(bm, 8, LV_PART_ITEMS);
  lv_obj_set_style_text_color(bm, lv_color_hex(0xFFFFFF), LV_PART_ITEMS);
  lv_obj_set_style_text_font(bm, &lv_font_montserrat_20, LV_PART_ITEMS);
  lv_obj_add_event_cb(bm, calc_btn_cb, LV_EVENT_VALUE_CHANGED, NULL);

  printf("[LVGL] UI created\r\n");
  {
      lv_mem_monitor_t lv_mon;
      lv_mem_monitor(&lv_mon);
      printf("[LVGL] mem total=%u free=%u frag=%u%%\r\n", (unsigned)lv_mon.total_size, (unsigned)lv_mon.free_size, (unsigned)lv_mon.frag_pct);
  }

/* idle: update UI + call LVGL timer handler */
  uint32_t last_sec = 0;
  for(;;)
  {
    if (osMessageQueueGet(q_sensor2displayHandle, &disp, NULL, 5) == osOK)
    {
        /* only touch labels when the value actually changed (avoid useless redraw) */
        if (disp.temp_x10 != last_temp_x10)
        {
            if (disp.temp_x10 != 0x7FFF)
                lv_label_set_text_fmt(lbl_w_temp, "Temp: %d.%d C", disp.temp_x10 / 10,
                                      (disp.temp_x10 % 10 < 0) ? -(disp.temp_x10 % 10) : (disp.temp_x10 % 10));
            else
                lv_label_set_text(lbl_w_temp, "Temp: N/A");
            last_temp_x10 = disp.temp_x10;
        }
        if (disp.humi_x10 != last_humi_x10)
        {
            if (disp.humi_x10 != 0x7FFF)
                lv_label_set_text_fmt(lbl_w_humi, "Humi: %d.%d %%", disp.humi_x10 / 10, disp.humi_x10 % 10);
            else
                lv_label_set_text(lbl_w_humi, "Humi: N/A");
            last_humi_x10 = disp.humi_x10;
        }
        if (disp.adc_mv != last_adc_mv)
        {
            lv_label_set_text_fmt(lbl_adc_big, "%u mV", (unsigned)disp.adc_mv);
            lv_label_set_text_fmt(lbl_adc_raw, "raw: 0x%04X", (unsigned)disp.adc_raw);
            last_adc_mv = disp.adc_mv;
        }
    }

    /* RTC clock: refresh once per second (avoid useless redraw) */
    uint32_t now = osKernelGetTickCount();
    if (now - last_sec >= 1000)
    {
        static const char *wd[7] = {"Mon", "Tue", "Wed", "Thu", "Fri", "Sat", "Sun"};
        RtcTime t;
        last_sec = now;
        rtc_get_time(&t);
        lv_label_set_text_fmt(lbl_clock_big, "%02u:%02u:%02u",
                              (unsigned)t.hour, (unsigned)t.minute, (unsigned)t.second);
        lv_label_set_text_fmt(lbl_clock_date, "%04u-%02u-%02u %s",
                              (unsigned)t.year, (unsigned)t.month, (unsigned)t.day,
                              wd[t.weekday - 1]);
        lv_label_set_text_fmt(lbl_desk_time, "%02u:%02u",
                              (unsigned)t.hour, (unsigned)t.minute);

        /* weather chart: one sample/s; N/A breaks the line. Y range
         * adapts to the data so small variations are clearly visible */
        if (last_temp_x10 != 0x7FFF)
        {
            if (last_temp_x10 < chart_tmin) chart_tmin = last_temp_x10;
            if (last_temp_x10 > chart_tmax) chart_tmax = last_temp_x10;
        }
        if (last_humi_x10 != 0x7FFF)
        {
            if (last_humi_x10 < chart_hmin) chart_hmin = last_humi_x10;
            if (last_humi_x10 > chart_hmax) chart_hmax = last_humi_x10;
        }
        chart_update_range();
        lv_chart_set_next_value(chart_weather, s_w_temp,
                                (last_temp_x10 != 0x7FFF) ? last_temp_x10 : LV_CHART_POINT_NONE);
        lv_chart_set_next_value(chart_weather, s_w_humi,
                                (last_humi_x10 != 0x7FFF) ? last_humi_x10 : LV_CHART_POINT_NONE);
    }

    lv_timer_handler();    /* LVGL render */
    osDelay(5);
  }
/* USER CODE END StartDisplayTask */
}

/* USER CODE BEGIN Application */
/* handle one complete frame: build reply and send */
static void proto_handle_cmd(ProtoParser *p, uint8_t *tx_buf)
{
    uint8_t reply_data[4];
    uint8_t len = 0;
    uint16_t n;

    /* ignore frames with unmatched ID (multi-slave bus) */
    if (p->id != g_device_id)
    {
        return;
    }

    switch (p->cmd)
    {
        case PROTO_CMD_SET_PARAM:               /* 0x02: 设置参数 */
        {
            uint8_t status = 0;                 /* 0=成功, 1=参数无效 */
            int need_save = 0;

            if (p->data_len >= 1)
            {
                if ((p->data[0] == PROTO_PARAM_INTERVAL) && (p->data_len >= 3))
                {
                    g_sample_interval_ms = (uint16_t)((p->data[1] << 8) | p->data[2]);
                    need_save = 1;
                }
                else if ((p->data[0] == PROTO_PARAM_DEVID) && (p->data_len >= 2))
                {
                    g_device_id = p->data[1];
                    need_save = 1;
                }
                else
                {
                    status = 1;
                }

                if (need_save)
                {
                    flash_param_save(g_device_id, g_sample_interval_ms);   /* 掉电保存 */
                }

                reply_data[0] = p->data[0];
                reply_data[1] = status;
                len = 2;
            }
            else
            {
                reply_data[0] = 0;
                reply_data[1] = 1;
                len = 2;
            }
            break;
        }

        case PROTO_CMD_QUERY:                   /* 0x03: 查询设备信息 */
            reply_data[0] = 0x01;               /* 固件版本 V1.0 */
            reply_data[1] = 0x00;
            reply_data[2] = g_device_id;
            len = 3;
            break;

        case PROTO_CMD_SET_TIME:                /* 0x04: 校时 DATA=YY(2B) MM DD HH MM SS */
        {
            if (p->data_len >= 7)
            {
                RtcTime t;
                t.year = (uint16_t)((p->data[0] << 8) | p->data[1]);
                t.month = p->data[2];
                t.day = p->data[3];
                t.hour = p->data[4];
                t.minute = p->data[5];
                t.second = p->data[6];
                rtc_set_time(&t);
                printf("[RTC] time set: %04u-%02u-%02u %02u:%02u:%02u\r\n",
                       (unsigned)t.year, (unsigned)t.month, (unsigned)t.day,
                       (unsigned)t.hour, (unsigned)t.minute, (unsigned)t.second);
                reply_data[0] = 0;              /* 0 = success */
                len = 1;
            }
            else
            {
                reply_data[0] = 1;              /* 1 = bad length */
                len = 1;
            }
            break;
        }

        default:                                /* 未知命令: 回一个错误码 */
            reply_data[0] = 0xFF;
            len = 1;
            break;
    }

    n = proto_build(g_device_id, p->cmd, reply_data, len, tx_buf);
    HAL_UART_Transmit(&huart1, tx_buf, n, 100);
}

/* USER CODE END Application */

/************************ (C) COPYRIGHT STMicroelectronics *****END OF FILE****/
